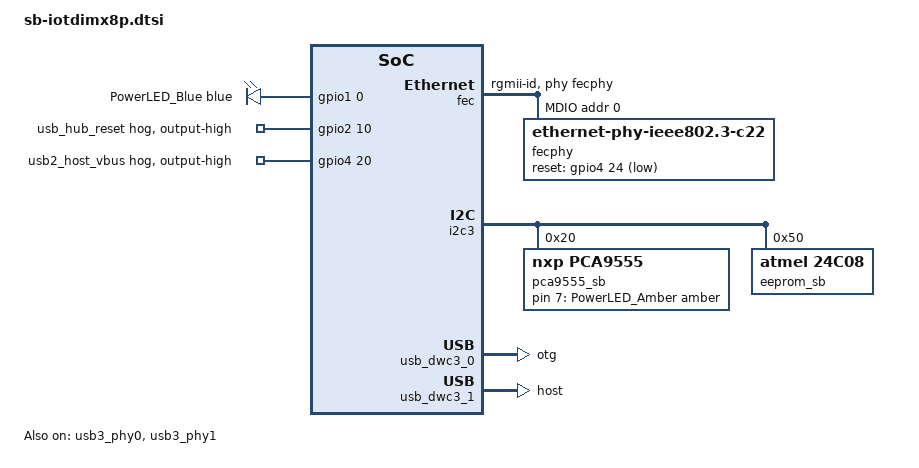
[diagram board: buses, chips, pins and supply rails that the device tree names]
// SPDX-License-Identifier: (GPL-2.0+ OR MIT)
/*
 * Copyright 2024 CompuLab
 */

#include <dt-bindings/leds/common.h>

/ {
	chosen {
		bootargs = "console=ttymxc1,115200 earlycon=ec_imx6q,0x30890000,115200 console=tty0";
		stdout-path = &uart2;
	};

	leds {
		pinctrl-0 = <&pinctrl_gpio_led>, <&pinctrl_user_leds>;

               pled_amber: power-led-abmer {
                        label = "PowerLED_Amber";
                        color = <LED_COLOR_ID_AMBER>;
                        gpios = <&pca9555_sb 7 GPIO_ACTIVE_HIGH>;
                        default-state = "off";
                };
                power-led-blue {
                        label = "PowerLED_Blue";
                        color = <LED_COLOR_ID_BLUE>;
                        gpios = <&gpio1 0 GPIO_ACTIVE_HIGH>;
                        default-state = "on";
                };
	};
};

&fec {
	pinctrl-names = "default";
	pinctrl-0 = <&pinctrl_fec>, <&pinctrl_fec_phy_reset>;
	phy-mode = "rgmii-id";
	phy-handle = <&fecphy>;
	fsl,magic-packet;
	status = "okay";

	mdio {
		compatible = "snps,dwmac-mdio";
		#address-cells = <1>;
		#size-cells = <0>;

		fecphy: fec-phy@0 {
			compatible = "ethernet-phy-ieee802.3-c22";
			reg = <0>;
			eee-broken-1000t;
			reset-gpios = <&gpio4 24 GPIO_ACTIVE_LOW>;
			reset-assert-us = <15000>;
			reset-deassert-us = <100000>;
			realtek,clkout-disable;
		};
	};
};

&gpio2 {
	usb_hub_reset {
		pinctrl-names = "default";
		pinctrl-0 = <&pinctrl_usb_hub_rst>;
		gpio-hog;
		gpios = <10 GPIO_ACTIVE_HIGH>;
		line-name = "usb_hub_reset";
		output-high;
	};
};

&gpio4 {
	usb_vbus_ena {
		pinctrl-names = "default";
		pinctrl-0 = <&pinctrl_usb2_vbus>;
		gpio-hog;
		gpios = <20 GPIO_ACTIVE_HIGH>;
		line-name = "usb2_host_vbus";
		output-high;
	};
};

&i2c3 {
	status = "okay";

        pca9555_sb: pca9555-sb@20 {
                compatible = "nxp,pca9555";
                gpio-controller;
                #gpio-cells = <2>;
                reg = <0x20>;

		gpio-line-names =
			"WLAN_PDn", "ULED2_GREEN", "ULED1_GREEN", "ULED2_RED",
			"ULED1_RED", "MODEM_RSTn", "RF_KILLn", "LED_AMBR_CNTL",
			"PWR_EN", "USB_RESET1", "USB_RESET2", "USB_RESET3",
			"B2B_GPIO0", "B2B_GPIO1", "B2B_GPIO2", "B2B_GPIO3";
        };

	eeprom_sb: eeprom-sb@50 {
		compatible = "atmel,24c08";
		reg = <0x50>;
		pagesize = <16>;
	};

};

&usb3_phy0 {
	status = "okay";
};

&usb_dwc3_0 {
	dr_mode = "otg";
	hnp-disable;
	srp-disable;
	adp-disable;
	usb-role-switch;
	status = "okay";
};

&usb3_phy1 {
	status = "okay";
};

&usb_dwc3_1 {
	dr_mode = "host";
	status = "okay";
};

&cpu_alert0 {
    temperature = <90000>;
};

&cpu_crit0 {
    temperature = <100000>;
};

&soc_alert0 {
    temperature = <90000>;
};

&soc_crit0 {
    temperature = <100000>;
};

&iomuxc {
	pinctrl_fec_phy_reset: fecphyrstgrp {
		fsl,pins = <
			MX8MP_IOMUXC_SAI2_TXFS__GPIO4_IO24			0x10
		>;
	};

	pinctrl_usb_hub_rst: usbhubrstgrp {
		fsl,pins = <
			MX8MP_IOMUXC_SD1_RESET_B__GPIO2_IO10			0x100
		>;
	};

	pinctrl_usb2_vbus: usb2vbusgrp {
		fsl,pins = <
			MX8MP_IOMUXC_SAI1_MCLK__GPIO4_IO20			0x154
		>;
	};

	pinctrl_user_leds: userledsgrp {
		fsl,pins = <
			MX8MP_IOMUXC_GPIO1_IO00__GPIO1_IO00			0x140
		>;
	};
};
